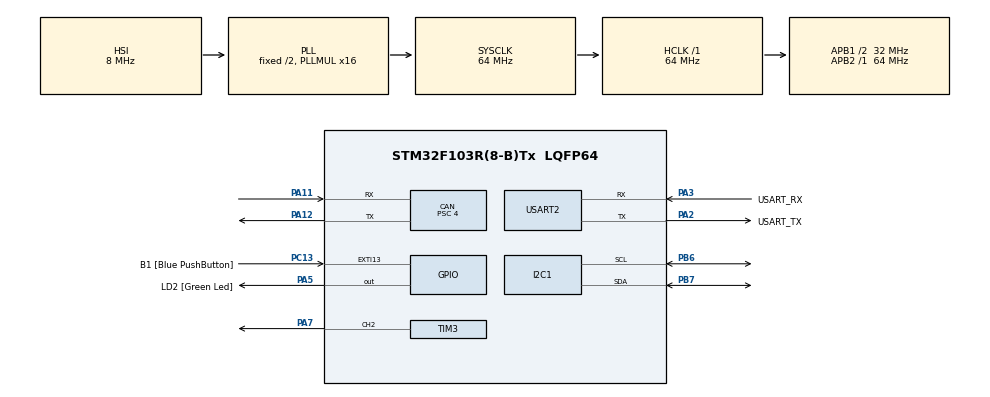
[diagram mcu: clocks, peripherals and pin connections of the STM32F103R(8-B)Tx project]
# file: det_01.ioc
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CAN.BS1=CAN_BS1_13TQ
CAN.BS2=CAN_BS2_2TQ
CAN.CalculateBaudRate=500000
CAN.CalculateTimeBit=2000
CAN.CalculateTimeQuantum=125.0
CAN.Mode=CAN_MODE_NORMAL
CAN.Prescaler=4
Mcu.Family=STM32F1
Mcu.Name=STM32F103R(8-B)Tx
Mcu.Package=LQFP64
NVIC.CAN1_RX1_IRQn=true\:0\:0\:false\:false\:true\:true\:true\:true
NVIC.EXTI15_10_IRQn=true\:0\:0\:false\:false\:true\:true\:true\:true
NVIC.PriorityGroup=NVIC_PRIORITYGROUP_4
NVIC.USB_LP_CAN1_RX0_IRQn=true\:0\:0\:false\:false\:true\:true\:true\:true
PA11.Mode=CAN_Activate
PA11.Signal=CAN_RX
PA12.Mode=CAN_Activate
PA12.Signal=CAN_TX
PA13.GPIO_Label=TMS
PA13.Mode=Serial_Wire
PA13.Signal=SYS_JTMS-SWDIO
PA14.GPIO_Label=TCK
PA14.Mode=Serial_Wire
PA14.Signal=SYS_JTCK-SWCLK
PA2.GPIO_Label=USART_TX
PA2.GPIO_Mode=GPIO_MODE_AF_PP
PA2.GPIO_PuPd=GPIO_NOPULL
PA2.GPIO_Speed=GPIO_SPEED_FREQ_LOW
PA2.Mode=Asynchronous
PA2.Signal=USART2_TX
PA3.GPIO_Label=USART_RX
PA3.GPIO_Mode=GPIO_MODE_AF_PP
PA3.GPIO_PuPd=GPIO_NOPULL
PA3.GPIO_Speed=GPIO_SPEED_FREQ_LOW
PA3.Mode=Asynchronous
PA3.Signal=USART2_RX
PA5.GPIO_Label=LD2 [Green Led]
PA5.GPIO_ModeDefaultOutputPP=GPIO_MODE_OUTPUT_PP
PA5.GPIO_PuPd=GPIO_NOPULL
PA5.GPIO_Speed=GPIO_SPEED_FREQ_LOW
PA5.Signal=GPIO_Output
PA7.Signal=S_TIM3_CH2
PB3.GPIO_Label=SWO
PB3.Signal=SYS_JTDO-TRACESWO
PB6.Mode=I2C
PB6.Signal=I2C1_SCL
PB7.Mode=I2C
PB7.Signal=I2C1_SDA
PC13-TAMPER-RTC.GPIO_Label=B1 [Blue PushButton]
PC13-TAMPER-RTC.GPIO_PuPd=GPIO_NOPULL
PC13-TAMPER-RTC.Signal=GPXTI13
PC14-OSC32_IN.Mode=LSE-External-Oscillator
PC14-OSC32_IN.Signal=RCC_OSC32_IN
PC15-OSC32_OUT.Mode=LSE-External-Oscillator
PC15-OSC32_OUT.Signal=RCC_OSC32_OUT
PD0-OSC_IN.Mode=HSE-External-Clock-Source
PD0-OSC_IN.Signal=RCC_OSC_IN
PD1-OSC_OUT.Mode=HSE-External-Clock-Source
PD1-OSC_OUT.Signal=RCC_OSC_OUT
ProjectManager.HeapSize=0x200
ProjectManager.StackSize=0x400
ProjectManager.TargetToolchain=STM32CubeIDE
RCC.AHBFreq_Value=64000000
RCC.APB1CLKDivider=RCC_HCLK_DIV2
RCC.APB1Freq_Value=32000000
RCC.APB1TimFreq_Value=64000000
RCC.APB2Freq_Value=64000000
RCC.APB2TimFreq_Value=64000000
RCC.HCLKFreq_Value=64000000
RCC.PLLMUL=RCC_PLL_MUL16
RCC.RTCClockSelection=RCC_RTCCLKSOURCE_LSE
RCC.SYSCLKFreq_VALUE=64000000
RCC.SYSCLKSource=RCC_SYSCLKSOURCE_PLLCLK
RCC.USBFreq_Value=64000000
SH.S_TIM3_CH2.0=TIM3_CH2,PWM Generation2 CH2
TIM3.Channel-PWM\ Generation2\ CH2=TIM_CHANNEL_2
TIM3.Period=10000 - 1
TIM3.Prescaler=128 - 1
USART2.VirtualMode=VM_ASYNC
board=NUCLEO-F103RB

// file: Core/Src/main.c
/* USER CODE BEGIN Header */
/**
  ******************************************************************************
  * @file           : main.c
  * @brief          : Main program body
  ******************************************************************************
  * @attention
  *
  * Copyright (c) 2026 STMicroelectronics.
  * All rights reserved.
  *
  * This software is licensed under terms that can be found in the LICENSE file
  * in the root directory of this software component.
  * If no LICENSE file comes with this software, it is provided AS-IS.
  *
  ******************************************************************************
  */
/* USER CODE END Header */
#include "main.h"

/* USER CODE BEGIN Includes */
#include "can.h"
#include "VL53L1X_api.h"
#include "vl53l1_platform.h"
#include "i2c.h"
#include <stdio.h>
/* USER CODE END Includes */

/* USER CODE BEGIN PD */
#define SERVO_MIN 250
#define SERVO_MAX 1200
/* USER CODE END PD */

CAN_HandleTypeDef hcan;

I2C_HandleTypeDef hi2c1;

TIM_HandleTypeDef htim3;

UART_HandleTypeDef huart2;

/* USER CODE BEGIN PV */
//  DET_CMD_OP, DET_CMD_STANDBY, DET_CMD_RESET
volatile uint8_t g_SystemMode = DET_CMD_INIT; // 시작은 0 (정지 상태)
/* USER CODE END PV */

void SystemClock_Config(void);
static void MX_GPIO_Init(void);
static void MX_USART2_UART_Init(void);
static void MX_CAN_Init(void);
static void MX_I2C1_Init(void);
static void MX_TIM3_Init(void);

/* USER CODE BEGIN 0 */

int __io_putchar(int ch)
{
 if ( ch == '\n' )
	 HAL_UART_Transmit(&huart2, (uint8_t*)&"\r", 1, HAL_MAX_DELAY);
 HAL_UART_Transmit(&huart2, (uint8_t*)&ch, 1, HAL_MAX_DELAY);
 return ch;
}

float tof_dis;

uint16_t SG90_CCRToANGLE(int CCR)
{
	double ccr_diff = CCR - SERVO_MIN;
	double ccr_diff2 = SERVO_MAX - SERVO_MIN;
	double angle = ccr_diff / ccr_diff2 * 180;
	return angle;
}

//void active()
//{
//
//}
/* USER CODE END 0 */

int main(void)
{

  /* MCU Configuration--------------------------------------------------------*/

  /* Reset of all peripherals, Initializes the Flash interface and the Systick. */
  HAL_Init();

  /* Configure the system clock */
  SystemClock_Config();

  /* Initialize all configured peripherals */
  MX_GPIO_Init();
  MX_USART2_UART_Init();
  MX_CAN_Init();
  MX_I2C1_Init();
  MX_TIM3_Init();
  /* USER CODE BEGIN 2 */

  //1. can Init
  canInit();
  //2. pwm Init
  HAL_TIM_PWM_Start(&htim3, TIM_CHANNEL_2);
  //3. Ir Init
  IrInit();
  /* USER CODE END 2 */
  int ccr = SERVO_MIN;
  int flag = 0;
  /* Infinite loop */
    /* USER CODE BEGIN WHILE */
    while (1)
    {
        // 💡 switch 문이 이 while 루프 안으로 들어와야 실시간으로 모드를 체크합니다!
        switch(g_SystemMode) {
            // ---------------------------------------------------------
            // CASE 0 & STANDBY: 아무것도 안 하거나 정지 상태일 때
            // ---------------------------------------------------------
            case DET_CMD_INIT:     // 초기 상태 (0)
            case DET_CMD_STANDBY:  // 정지 버튼 (3)
            {
                // 정지 시 모터를 중앙(중립)으로 이동 (과부하 방지)
                // 1500은 일반적인 SG90의 중립값입니다.
                __HAL_TIM_SET_COMPARE(&htim3, TIM_CHANNEL_2, 1500);
                break;
            }

            // ---------------------------------------------------------
            // CASE 2: 탐색 시작 (Operation)
            // ---------------------------------------------------------
            case DET_CMD_OP:
            {
                // 1. 센서 데이터 읽기
                tof_dis = Read_ToF_Sensor_Data();

                // 2. 모터 스윕 로직
                if(flag) {
                    ccr += 10;
                } else {
                    ccr -= 10;
                }

                if(ccr >= SERVO_MAX) flag = 0;
                else if(ccr <= SERVO_MIN) flag = 1;

                __HAL_TIM_SET_COMPARE(&htim3, TIM_CHANNEL_2, ccr);

                // 3. 현재 각도 계산 및 전송
                double angle = SG90_CCRToANGLE(ccr);
                float current_angle_deg = (float)angle;

                // 💡 중요: 고정값 45.0 대신 실제 계산된 각도를 보냅니다.
                Calculate_Target_Position(tof_dis, current_angle_deg);

                HAL_Delay(100); // 탐색 주기 100ms
                break;
            }

            // ---------------------------------------------------------
            // CASE 4: 리셋
            // ---------------------------------------------------------
            case DET_CMD_RESET:
            {
                NVIC_SystemReset();
                break;
            }

            default:
                // 예상치 못한 값이 들어오면 안전하게 대기모드로 전환
                g_SystemMode = DET_CMD_STANDBY;
                break;
        }
      /* USER CODE END WHILE */

    }
  }

void SystemClock_Config(void)
{
  RCC_OscInitTypeDef RCC_OscInitStruct = {0};
  RCC_ClkInitTypeDef RCC_ClkInitStruct = {0};

  /** Initializes the RCC Oscillators according to the specified parameters
  * in the RCC_OscInitTypeDef structure.
  */
  RCC_OscInitStruct.OscillatorType = RCC_OSCILLATORTYPE_HSI;
  RCC_OscInitStruct.HSIState = RCC_HSI_ON;
  RCC_OscInitStruct.HSICalibrationValue = RCC_HSICALIBRATION_DEFAULT;
  RCC_OscInitStruct.PLL.PLLState = RCC_PLL_ON;
  RCC_OscInitStruct.PLL.PLLSource = RCC_PLLSOURCE_HSI_DIV2;
  RCC_OscInitStruct.PLL.PLLMUL = RCC_PLL_MUL16;
  if (HAL_RCC_OscConfig(&RCC_OscInitStruct) != HAL_OK)
  {
    Error_Handler();
  }

  /** Initializes the CPU, AHB and APB buses clocks
  */
  RCC_ClkInitStruct.ClockType = RCC_CLOCKTYPE_HCLK|RCC_CLOCKTYPE_SYSCLK
                              |RCC_CLOCKTYPE_PCLK1|RCC_CLOCKTYPE_PCLK2;
  RCC_ClkInitStruct.SYSCLKSource = RCC_SYSCLKSOURCE_PLLCLK;
  RCC_ClkInitStruct.AHBCLKDivider = RCC_SYSCLK_DIV1;
  RCC_ClkInitStruct.APB1CLKDivider = RCC_HCLK_DIV2;
  RCC_ClkInitStruct.APB2CLKDivider = RCC_HCLK_DIV1;

  if (HAL_RCC_ClockConfig(&RCC_ClkInitStruct, FLASH_LATENCY_2) != HAL_OK)
  {
    Error_Handler();
  }
}

static void MX_CAN_Init(void)
{

  hcan.Instance = CAN1;
  hcan.Init.Prescaler = 4;
  hcan.Init.Mode = CAN_MODE_NORMAL;
  hcan.Init.SyncJumpWidth = CAN_SJW_1TQ;
  hcan.Init.TimeSeg1 = CAN_BS1_13TQ;
  hcan.Init.TimeSeg2 = CAN_BS2_2TQ;
  hcan.Init.TimeTriggeredMode = DISABLE;
  hcan.Init.AutoBusOff = DISABLE;
  hcan.Init.AutoWakeUp = DISABLE;
  hcan.Init.AutoRetransmission = DISABLE;
  hcan.Init.ReceiveFifoLocked = DISABLE;
  hcan.Init.TransmitFifoPriority = DISABLE;
  if (HAL_CAN_Init(&hcan) != HAL_OK)
  {
    Error_Handler();
  }

}

static void MX_I2C1_Init(void)
{

  hi2c1.Instance = I2C1;
  hi2c1.Init.ClockSpeed = 100000;
  hi2c1.Init.DutyCycle = I2C_DUTYCYCLE_2;
  hi2c1.Init.OwnAddress1 = 0;
  hi2c1.Init.AddressingMode = I2C_ADDRESSINGMODE_7BIT;
  hi2c1.Init.DualAddressMode = I2C_DUALADDRESS_DISABLE;
  hi2c1.Init.OwnAddress2 = 0;
  hi2c1.Init.GeneralCallMode = I2C_GENERALCALL_DISABLE;
  hi2c1.Init.NoStretchMode = I2C_NOSTRETCH_DISABLE;
  if (HAL_I2C_Init(&hi2c1) != HAL_OK)
  {
    Error_Handler();
  }

}

static void MX_TIM3_Init(void)
{

  TIM_MasterConfigTypeDef sMasterConfig = {0};
  TIM_OC_InitTypeDef sConfigOC = {0};

  htim3.Instance = TIM3;
  htim3.Init.Prescaler = 128 - 1;
  htim3.Init.CounterMode = TIM_COUNTERMODE_UP;
  htim3.Init.Period = 10000 - 1;
  htim3.Init.ClockDivision = TIM_CLOCKDIVISION_DIV1;
  htim3.Init.AutoReloadPreload = TIM_AUTORELOAD_PRELOAD_DISABLE;
  if (HAL_TIM_PWM_Init(&htim3) != HAL_OK)
  {
    Error_Handler();
  }
  sMasterConfig.MasterOutputTrigger = TIM_TRGO_RESET;
  sMasterConfig.MasterSlaveMode = TIM_MASTERSLAVEMODE_DISABLE;
  if (HAL_TIMEx_MasterConfigSynchronization(&htim3, &sMasterConfig) != HAL_OK)
  {
    Error_Handler();
  }
  sConfigOC.OCMode = TIM_OCMODE_PWM1;
  sConfigOC.Pulse = 0;
  sConfigOC.OCPolarity = TIM_OCPOLARITY_HIGH;
  sConfigOC.OCFastMode = TIM_OCFAST_DISABLE;
  if (HAL_TIM_PWM_ConfigChannel(&htim3, &sConfigOC, TIM_CHANNEL_2) != HAL_OK)
  {
    Error_Handler();
  }
  HAL_TIM_MspPostInit(&htim3);

}

static void MX_USART2_UART_Init(void)
{

  huart2.Instance = USART2;
  huart2.Init.BaudRate = 115200;
  huart2.Init.WordLength = UART_WORDLENGTH_8B;
  huart2.Init.StopBits = UART_STOPBITS_1;
  huart2.Init.Parity = UART_PARITY_NONE;
  huart2.Init.Mode = UART_MODE_TX_RX;
  huart2.Init.HwFlowCtl = UART_HWCONTROL_NONE;
  huart2.Init.OverSampling = UART_OVERSAMPLING_16;
  if (HAL_UART_Init(&huart2) != HAL_OK)
  {
    Error_Handler();
  }

}

static void MX_GPIO_Init(void)
{
  GPIO_InitTypeDef GPIO_InitStruct = {0};

  /* GPIO Ports Clock Enable */
  __HAL_RCC_GPIOC_CLK_ENABLE();
  __HAL_RCC_GPIOD_CLK_ENABLE();
  __HAL_RCC_GPIOA_CLK_ENABLE();
  __HAL_RCC_GPIOB_CLK_ENABLE();

  /*Configure GPIO pin Output Level */
  HAL_GPIO_WritePin(LD2_GPIO_Port, LD2_Pin, GPIO_PIN_RESET);

  /*Configure GPIO pin : B1_Pin */
  GPIO_InitStruct.Pin = B1_Pin;
  GPIO_InitStruct.Mode = GPIO_MODE_IT_RISING;
  GPIO_InitStruct.Pull = GPIO_NOPULL;
  HAL_GPIO_Init(B1_GPIO_Port, &GPIO_InitStruct);

  /*Configure GPIO pin : LD2_Pin */
  GPIO_InitStruct.Pin = LD2_Pin;
  GPIO_InitStruct.Mode = GPIO_MODE_OUTPUT_PP;
  GPIO_InitStruct.Pull = GPIO_NOPULL;
  GPIO_InitStruct.Speed = GPIO_SPEED_FREQ_LOW;
  HAL_GPIO_Init(LD2_GPIO_Port, &GPIO_InitStruct);

  /* EXTI interrupt init*/
  HAL_NVIC_SetPriority(EXTI15_10_IRQn, 0, 0);
  HAL_NVIC_EnableIRQ(EXTI15_10_IRQn);

}

void Error_Handler(void)
{
  __disable_irq();
  while (1)
  {
  }
}
